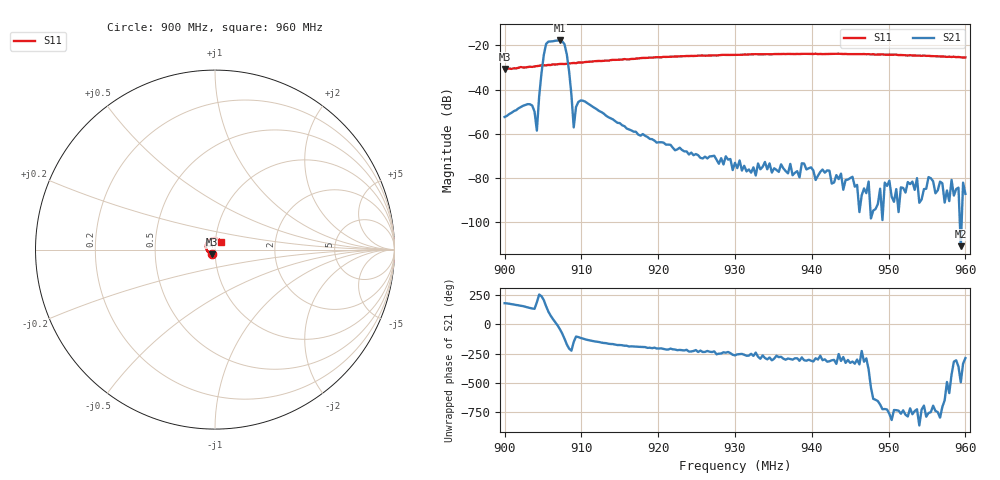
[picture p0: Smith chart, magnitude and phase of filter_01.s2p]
!File created by NanoVNA-F V2
# Hz S RI R 50
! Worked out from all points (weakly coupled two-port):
!   201 points, 900 MHz to 960 MHz, reference 50 ohm
!   highest |S21| = -17.73 dB at 907.2 MHz (marker M1); lowest = -111.0 dB at 959.4 MHz (marker M2)
!   lowest |S11| = -30.7 dB at 900 MHz (marker M3), VSWR 1.06, Z = 48.5 - j2.44 ohm
!   |S11| at or under -10 dB: start of sweep to end of sweep
!   S12 and S22 are empty: the file has one direction only
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9e8  -0.015 -0.0252  -0.00239 3e-06  0 0  0 0
9.033e8  -0.0239 -0.0228  -0.00351 0.00306  0 0  0 0
9.039e8  -0.0255 -0.0218  -0.00212 0.00233  0 0  0 0
9.042e8  -0.0264 -0.0214  -0.00116 -0.00016  0 0  0 0
9.048e8  -0.0282 -0.0214  -0.0117 -0.0202  0 0  0 0
9.054e8  -0.0294 -0.0198  -0.098 0.0462  0 0  0 0
9.072e8  -0.0342 -0.0168  0.0966 -0.0869  0 0  0 0
9.081e8  -0.0354 -0.0153  -0.062 -0.00854  0 0  0 0
9.09e8  -0.0377 -0.0137  -0.00121 -0.000683  0 0  0 0
9.093e8  -0.0377 -0.0122  -0.00102 -0.0039  0 0  0 0
9.102e8  -0.0397 -0.0106  -0.00297 -0.00474  0 0  0 0
9.201e8  -0.051 0.0177  -0.000572 0.000289  0 0  0 0
9.3e8  -0.0409 0.0458  -1.9e-05 0.000218  0 0  0 0
9.327e8  -0.0366 0.0518  -5.3e-05 0.0001  0 0  0 0
9.339e8  -0.032 0.0543  7.1e-05 0.000218  0 0  0 0
9.372e8  -0.0242 0.0595  9.3e-05 0.000185  0 0  0 0
9.384e8  -0.0213 0.0604  6.8e-05 7.6e-05  0 0  0 0
9.387e8  -0.0205 0.0611  4.9e-05 0.000208  0 0  0 0
9.402e8  -0.0154 0.0623  0.000108 9.9e-05  0 0  0 0
9.501e8  0.0138 0.0605  6.1e-05 -6.1e-05  0 0  0 0
9.594e8  0.0367 0.0398  -2e-06 -2e-06  0 0  0 0
9.6e8  0.0362 0.0396  1.4e-05 4.1e-05  0 0  0 0
